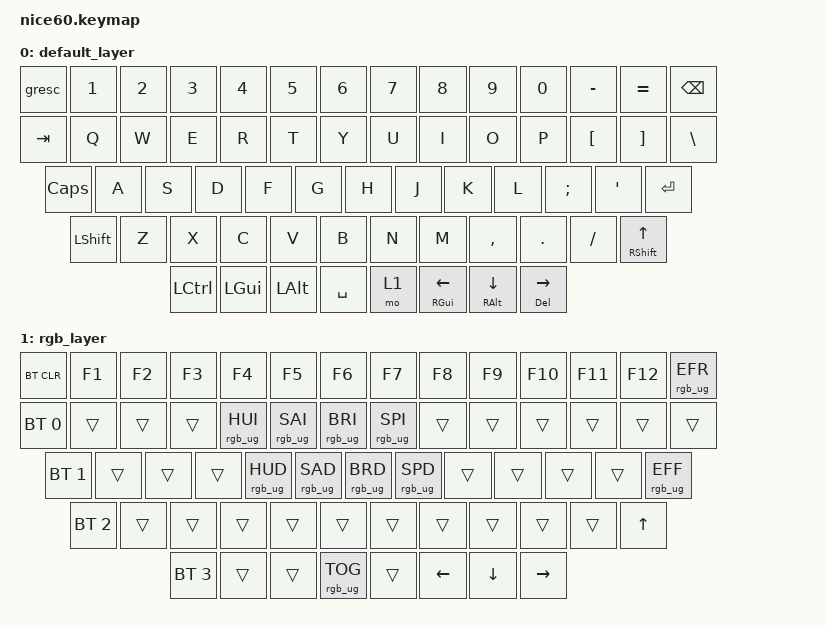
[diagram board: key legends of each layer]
/*
 * Copyright (c) 2021 Nick Winans
 *
 * SPDX-License-Identifier: MIT
 */

#include <behaviors.dtsi>
#include <dt-bindings/zmk/keys.h>
#include <dt-bindings/zmk/rgb.h>
#include <dt-bindings/zmk/bt.h>

&mt {    
	tapping-term-ms = <400>;
};

/ {
	keymap {
		compatible = "zmk,keymap";
		
		default_layer {
// ------------------------------------------------------------------------------------------------------
// | ESC |  1  |  2  |  3  |  4  |  5  |  6  |  7  |  8  |  9  |  0  |  -  |  =  |       BKSP           |
// | TAB  |  Q  |  W  |  E  |  R  |  T  |  Y  |  U  |  I  |  O  |  P  |  [  |  ]  |      "|"            |
// | CAPS  |  A  |  S  |  D  |  F  |  G  |  H  |  J  |  K  |  L  |  ;  |  '  |        ENTER             |
// |  SHIFT  |  Z  |  X  |  C  |  V  |  B  |  N  |  M  |  ,  |  .  |  /  |         (UP)SHIFT            |
// |  CTL  |  WIN  |  ALT  |            SPACE              |  MO(1)  |  (LT)WIN  |  (DN)ALT |  (RT)DEL  |
// ------------------------------------------------------------------------------------------------------
			bindings = <
	&gresc  &kp N1 &kp N2 &kp N3 &kp N4 &kp N5 &kp N6 &kp N7 &kp N8 &kp N9 &kp N0 &kp MINUS &kp EQUAL  &kp BSPC
	&kp TAB  &kp Q  &kp W  &kp E  &kp R  &kp T  &kp Y  &kp U  &kp I  &kp O  &kp P  &kp LBKT  &kp RBKT  &kp BSLH
	&kp CLCK  &kp A  &kp S  &kp D  &kp F  &kp G  &kp H  &kp J  &kp K  &kp L  &kp SEMI &kp SQT           &kp RET
	&kp LSHFT   &kp Z  &kp X  &kp C  &kp V  &kp B  &kp N  &kp M  &kp COMMA &kp DOT &kp FSLH        &mt RSHFT UP
	&kp LCTRL &kp LGUI &kp LALT             &kp SPACE              &mo 1  &mt RGUI LEFT  &mt RALT DOWN   &mt DEL RIGHT
			>;
		};

		rgb_layer {
// ------------------------------------------------------------------------------------------------
// | BT CLR | F1  | F2  | F3  | F4  | F5  | F6  | F7  | F8  | F9  | F10  | F11 | F12 | EFFECT REV |
// |  BT 1   |   |     |   | HUEUP | SATUP | BRIUP | SPDUP |   |     |    |     |     |           |
// |   BT 2   |    |      |    | HUEDN | SATDN | BRIDN | SPDDN |   |     |   |     |  EFFECT FORW |
// |    BT 3     |     |      |      |     |     |     |     |     |     |     |    UP            |
// |   BT 4  |      |      |             TOG RGB                |  |   LT     |   DN    |   RT    |
// ------------------------------------------------------------------------------------------------
			bindings = <
	&bt BT_CLR   &kp F1    &kp F2    &kp F3  &kp F4           &kp F5          &kp F6         &kp F7        &kp F8   &kp F9   &kp F10  &kp F11 &kp F12  &rgb_ug RGB_EFR
	&bt BT_SEL 0  &trans    &trans    &trans  &rgb_ug RGB_HUI  &rgb_ug RGB_SAI &rgb_ug RGB_BRI &rgb_ug RGB_SPI  &trans   &trans   &trans   &trans  &trans       &trans 
	&bt BT_SEL 1   &trans  &trans  &trans &rgb_ug RGB_HUD &rgb_ug RGB_SAD &rgb_ug RGB_BRD &rgb_ug RGB_SPD &trans   &trans   &trans   &trans        &rgb_ug RGB_EFF
	&bt BT_SEL 2    &trans    &trans    &trans   &trans          &trans          &trans          &trans          &trans   &trans   &trans            &kp UP
	&bt BT_SEL 3  &trans   &trans                            &rgb_ug RGB_TOG                                      &trans      &kp LEFT      &kp DOWN         &kp RIGHT
			>;
		};
	};
};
